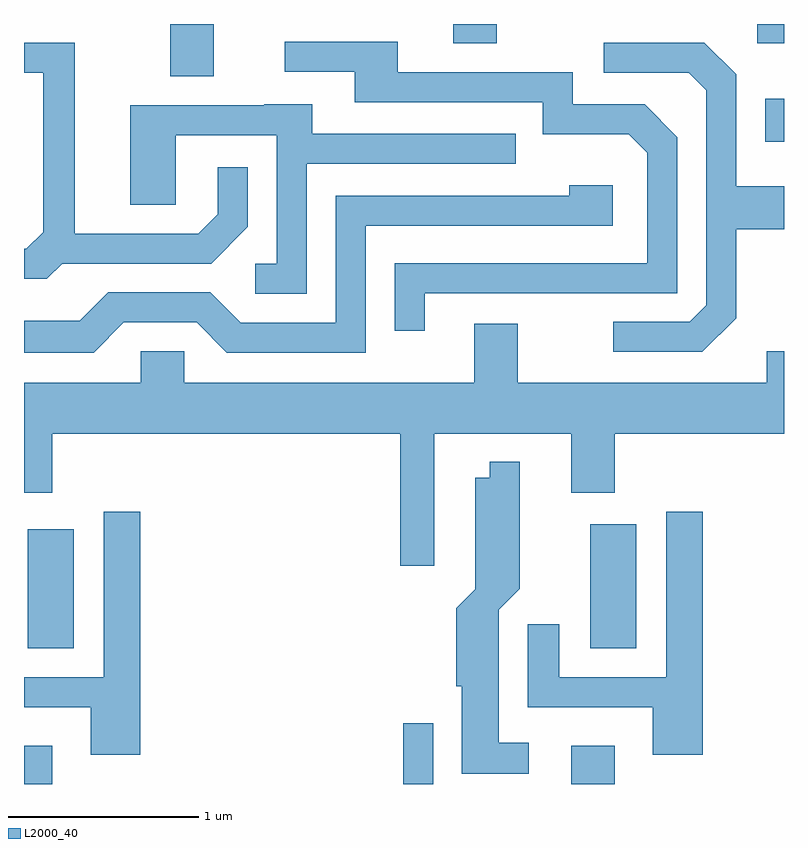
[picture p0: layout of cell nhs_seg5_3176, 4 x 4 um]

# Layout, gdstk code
import gdstk
lib = gdstk.Library(unit=1e-6, precision=1e-09)
def R(c, l, rs):  # rectangles x0, y0, x1, y1
    for r in rs: c.add(gdstk.rectangle(r[:2], r[2:], *l))
def P(c, l, *ps):  # polygons
    for p in ps: c.add(gdstk.Polygon(p, *l))
L2000_40 = (2000, 40)

nhs_seg5_3176 = lib.new_cell('nhs_seg5_3176')
R(nhs_seg5_3176, L2000_40, [(279.611,1446.072,279.759,1446.274), (281.606,1446.072,281.764,1446.393), (282.491,1446.072,282.719,1446.274), (279.631,1446.786,279.874,1447.414), (282.591,1446.786,282.834,1447.439), (283.511,1449.451,283.611,1449.679), (280.381,1449.796,280.609,1450.072), (281.871,1449.971,282.099,1450.072), (283.471,1449.971,283.611,1450.072)])
P(nhs_seg5_3176, L2000_40, [(281.719,1448.656),(283.049,1448.656),(283.049,1449.477),(282.877,1449.649),(282.499,1449.649),(282.499,1449.819),(281.579,1449.819),(281.579,1449.979),(280.983,1449.979),(280.983,1449.821),(281.351,1449.821),(281.351,1449.661),(282.341,1449.661),(282.341,1449.491),(282.794,1449.491),(282.891,1449.394),(282.891,1448.814),(281.561,1448.814),(281.561,1448.458),(281.719,1448.458)],
  [(279.812,1448.811),(280.597,1448.811),(280.789,1449.004),(280.789,1449.318),(280.631,1449.318),(280.631,1449.072),(280.529,1448.969),(279.879,1448.969),(279.879,1449.974),(279.611,1449.974),(279.611,1449.816),(279.711,1449.816),(279.711,1448.977),(279.624,1448.889),(279.611,1448.889),(279.611,1448.731),(279.732,1448.731)],
  [(283.359,1448.524),(283.359,1448.991),(283.611,1448.991),(283.611,1449.219),(283.359,1449.219),(283.359,1449.807),(283.192,1449.974),(282.663,1449.974),(282.663,1449.816),(283.109,1449.816),(283.201,1449.724),(283.201,1448.592),(283.114,1448.504),(282.713,1448.504),(282.713,1448.346),(283.182,1448.346)],
  [(281.099,1449.336),(282.198,1449.336),(282.198,1449.494),(281.129,1449.494),(281.129,1449.649),(280.875,1449.649),(280.875,1449.644),(280.171,1449.644),(280.171,1449.121),(280.409,1449.121),(280.409,1449.486),(280.941,1449.486),(280.941,1448.809),(280.828,1448.809),(280.828,1448.651),(281.099,1448.651)],
  [(280.137,1448.501),(280.519,1448.501),(280.679,1448.341),(281.409,1448.341),(281.409,1449.011),(282.709,1449.011),(282.709,1449.224),(282.481,1449.224),(282.481,1449.169),(281.251,1449.169),(281.251,1448.499),(280.752,1448.499),(280.592,1448.659),(280.054,1448.659),(279.904,1448.509),(279.611,1448.509),(279.611,1448.341),(279.977,1448.341)],
  [(281.769,1447.916),(282.491,1447.916),(282.491,1447.606),(282.719,1447.606),(282.719,1447.916),(283.611,1447.916),(283.611,1448.349),(283.521,1448.349),(283.521,1448.184),(282.209,1448.184),(282.209,1448.494),(281.981,1448.494),(281.981,1448.184),(280.454,1448.184),(280.454,1448.349),(280.226,1448.349),(280.226,1448.184),(279.611,1448.184),(279.611,1447.606),(279.759,1447.606),(279.759,1447.916),(281.591,1447.916),(281.591,1447.221),(281.769,1447.221)],
  [(282.268,1446.289),(282.109,1446.289),(282.109,1446.989),(282.219,1447.099),(282.219,1447.768),(282.061,1447.768),(282.061,1447.684),(281.986,1447.684),(281.986,1447.097),(281.886,1446.997),(281.886,1446.586),(281.916,1446.586),(281.916,1446.126),(282.268,1446.126)],
  [(283.184,1447.504),(282.991,1447.504),(282.991,1446.634),(282.429,1446.634),(282.429,1446.913),(282.261,1446.913),(282.261,1446.476),(282.921,1446.476),(282.921,1446.226),(283.184,1446.226)],
  [(280.224,1447.504),(280.031,1447.504),(280.031,1446.634),(279.611,1446.634),(279.611,1446.476),(279.961,1446.476),(279.961,1446.226),(280.224,1446.226)])

lib.write_gds('nhs_seg5_3176.gds')
